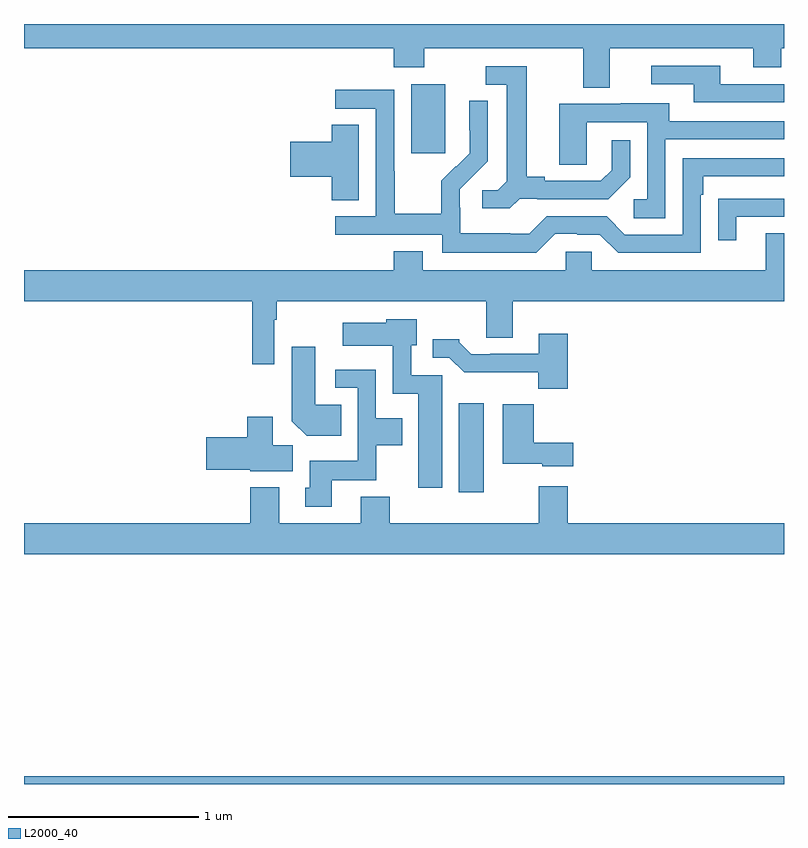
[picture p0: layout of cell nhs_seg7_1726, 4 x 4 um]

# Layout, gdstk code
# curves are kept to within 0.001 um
import gdstk
lib = gdstk.Library(unit=1e-6, precision=1e-09)
def R(c, l, rs):  # rectangles x0, y0, x1, y1
    for r in rs: c.add(gdstk.rectangle(r[:2], r[2:], *l))
def P(c, l, *ps):  # polygons
    for p in ps: c.add(gdstk.Polygon(p, *l))
L2000_40 = (2000, 40)

nhs_seg7_1726 = lib.new_cell('nhs_seg7_1726')
R(nhs_seg7_1726, L2000_40, [(227,1074,231,1074.04), (229.289,1075.536,229.42,1076.005), (229.037,1077.321,229.216,1077.682)])
P(nhs_seg7_1726, L2000_40, [(230.083,1077.872),(230.837,1077.872),(230.837,1077.773),(230.985,1077.773),(230.985,1077.872),(231,1077.872),(231,1078),(227,1078),(227,1077.872),(228.947,1077.872),(228.947,1077.773),(229.107,1077.773),(229.107,1077.872),(229.943,1077.872),(229.943,1077.664),(230.083,1077.664)],
  [(231,1077.684),(230.665,1077.684),(230.665,1077.78),(230.301,1077.78),(230.301,1077.684),(230.525,1077.684),(230.525,1077.588),(231,1077.588)],
  [(229.608,1077.081),(229.702,1077.081),(229.702,1077.078),(230.074,1077.078),(230.19,1077.194),(230.19,1077.388),(230.093,1077.388),(230.093,1077.231),(230.036,1077.174),(229.741,1077.174),(229.741,1077.197),(229.645,1077.197),(229.645,1077.777),(229.431,1077.777),(229.431,1077.681),(229.541,1077.681),(229.541,1077.173),(229.494,1077.126),(229.413,1077.126),(229.413,1077.029),(229.556,1077.029)],
  [(229.797,1076.895),(229.913,1076.895),(229.913,1076.892),(230.031,1076.892),(230.127,1076.796),(230.562,1076.796),(230.562,1077.101),(230.575,1077.101),(230.575,1077.198),(231,1077.198),(231,1077.294),(230.466,1077.294),(230.466,1076.892),(230.163,1076.892),(230.067,1076.988),(229.752,1076.988),(229.659,1076.895),(229.559,1076.895),(229.559,1076.899),(229.296,1076.899),(229.296,1077.033),(229.294,1077.033),(229.294,1077.13),(229.44,1077.278),(229.44,1077.596),(229.344,1077.596),(229.344,1077.442),(229.346,1077.442),(229.346,1077.32),(229.275,1077.249),(229.272,1077.252),(229.195,1077.175),(229.195,1077.001),(228.951,1077.001),(228.951,1077.224),(228.948,1077.224),(228.948,1077.654),(228.639,1077.654),(228.639,1077.555),(228.852,1077.555),(228.852,1076.988),(228.639,1076.988),(228.639,1076.892),(229.2,1076.892),(229.2,1076.795),(229.697,1076.795)],
  [(230.376,1077.393),(231,1077.393),(231,1077.489),(230.395,1077.489),(230.395,1077.583),(230.141,1077.583),(230.141,1077.579),(229.817,1077.579),(229.817,1077.259),(229.962,1077.259),(229.962,1077.483),(230.28,1077.483),(230.28,1077.078),(230.208,1077.078),(230.208,1076.977),(230.376,1076.977)],
  [(228.763,1077.47),(228.62,1077.47),(228.62,1077.38),(228.402,1077.38),(228.402,1077.197),(228.62,1077.197),(228.62,1077.073),(228.763,1077.073)],
  [(230.749,1076.985),(231,1076.985),(231,1077.081),(230.755,1077.081),(230.755,1077.08),(230.653,1077.08),(230.653,1076.862),(230.749,1076.862)],
  [(228.318,1076.444),(228.331,1076.444),(228.331,1076.54),(229.433,1076.54),(229.433,1076.35),(229.573,1076.35),(229.573,1076.54),(231,1076.54),(231,1076.899),(230.903,1076.899),(230.903,1076.704),(229.989,1076.704),(229.989,1076.802),(229.851,1076.802),(229.851,1076.704),(229.099,1076.704),(229.099,1076.803),(228.947,1076.803),(228.947,1076.704),(227,1076.704),(227,1076.54),(228.202,1076.54),(228.202,1076.208),(228.318,1076.208)],
  [(229.201,1076.151),(229.038,1076.151),(229.038,1076.31),(229.066,1076.31),(229.066,1076.446),(228.906,1076.446),(228.906,1076.428),(228.678,1076.428),(228.678,1076.306),(228.942,1076.306),(228.942,1076.054),(229.076,1076.054),(229.076,1075.56),(229.201,1075.56)],
  [(229.862,1076.371),(229.709,1076.371),(229.709,1076.265),(229.453,1076.265),(229.453,1076.262),(229.354,1076.262),(229.29,1076.326),(229.29,1076.341),(229.151,1076.341),(229.151,1076.244),(229.239,1076.244),(229.318,1076.166),(229.707,1076.166),(229.707,1076.081),(229.862,1076.081)],
  [(228.671,1075.996),(228.532,1075.996),(228.532,1076.302),(228.41,1076.302),(228.41,1075.91),(228.488,1075.832),(228.671,1075.832)],
  [(228.619,1075.598),(228.855,1075.598),(228.855,1075.784),(228.991,1075.784),(228.991,1075.924),(228.852,1075.924),(228.852,1076.181),(228.639,1076.181),(228.639,1076.085),(228.756,1076.085),(228.756,1075.702),(228.503,1075.702),(228.503,1075.56),(228.479,1075.56),(228.479,1075.458),(228.619,1075.458)],
  [(229.891,1075.795),(229.682,1075.795),(229.682,1075.999),(229.52,1075.999),(229.52,1075.685),(229.728,1075.685),(229.728,1075.673),(229.891,1075.673)],
  [(228.415,1075.784),(228.31,1075.784),(228.31,1075.933),(228.176,1075.933),(228.176,1075.826),(227.958,1075.826),(227.958,1075.655),(228.192,1075.655),(228.192,1075.646),(228.415,1075.646)],
  [(231,1075.372),(229.862,1075.372),(229.862,1075.567),(229.709,1075.567),(229.709,1075.372),(228.926,1075.372),(228.926,1075.513),(228.773,1075.513),(228.773,1075.372),(228.343,1075.372),(228.343,1075.561),(228.191,1075.561),(228.191,1075.372),(227,1075.372),(227,1075.208),(231,1075.208)])

lib.write_gds('nhs_seg7_1726.gds')
